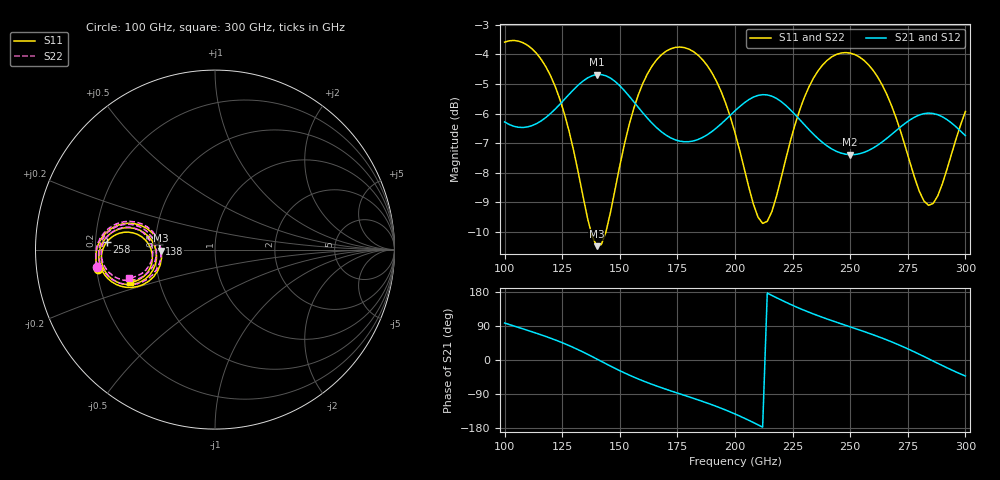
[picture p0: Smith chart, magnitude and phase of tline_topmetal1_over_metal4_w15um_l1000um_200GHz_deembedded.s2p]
! Created with skrf 2.0.1 (http://scikit-rf.org).
# GHz S DB R 50.0
!freq dBS11 angS11 dBS21 angS21 dBS12 angS12 dBS22 angS22
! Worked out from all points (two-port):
!   101 points, 100 GHz to 300 GHz, reference 50 ohm
!   highest |S21| = -4.68 dB at 140 GHz (marker M1); lowest = -7.4 dB at 250 GHz (marker M2)
!   |S21| within 3 dB of the highest: start of sweep to end of sweep
!   lowest |S11| = -10.5 dB at 140 GHz (marker M3), VSWR 1.85, Z = 27 - j0.395 ohm
!   |S11| at or under -10 dB: 137.5 GHz to 144 GHz (6.425 GHz wide, 4.56 % of centre)
!   |S22| runs from -10.4 to -3.5 dB; largest |S21 - S12| = 6.7e-14
!   S11 on the Smith chart (normalised r, x): 100 GHz: 0.21, -0.08; 138 GHz: 0.53, +0.04; 258 GHz: 0.25, +0.03; 300 GHz: 0.34, -0.17
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100  -3.59 -170.6  -6.28 97.6  -6.28 97.6  -3.59 -171.7
110  -3.70 178.1  -6.45 78.2  -6.45 78.2  -3.69 176.9
120  -4.73 167.6  -5.99 57.4  -5.99 57.4  -4.73 166.4
128  -6.60 162.1  -5.35 38.0  -5.35 38.0  -6.58 160.8
134  -8.78 164.9  -4.90 21.1  -4.90 21.1  -8.74 163.5
138  -10.14 174.2  -4.72 9.0  -4.72 9.0  -10.10 172.8
140  -10.47 -178.7  -4.68 2.7  -4.68 2.7  -10.42 179.7
146  -9.32 -159.4  -4.80 -16.2  -4.80 -16.2  -9.28 -161.2
154  -6.40 -154.5  -5.41 -39.5  -5.41 -39.5  -6.38 -156.4
168  -4.02 -166.9  -6.61 -72.9  -6.61 -72.9  -4.02 -168.9
184  -4.03 176.6  -6.87 -105.4  -6.87 -105.4  -4.03 174.5
200  -6.65 165.3  -5.91 -142.4  -5.91 -142.4  -6.65 163.0
210  -9.50 177.2  -5.39 -171.1  -5.39 -171.1  -9.50 174.8
216  -9.31 -165.9  -5.41 170.5  -5.41 170.5  -9.32 -168.4
224  -6.94 -156.6  -5.87 147.1  -5.87 147.1  -6.95 -159.2
234  -4.81 -161.6  -6.69 121.6  -6.69 121.6  -4.82 -164.3
250  -3.96 -176.6  -7.39 87.5  -7.39 87.5  -3.97 -179.5
258  -4.36 176.1  -7.24 70.8  -7.24 70.8  -4.38 173.1
268  -5.74 169.2  -6.70 47.8  -6.70 47.8  -5.78 166.0
284  -9.10 -175.9  -5.98 3.2  -5.98 3.2  -9.19 -179.0
290  -8.37 -163.3  -6.11 -14.6  -6.11 -14.6  -8.45 -166.2
300  -5.93 -158.8  -6.75 -42.3  -6.75 -42.3  -5.97 -161.8
